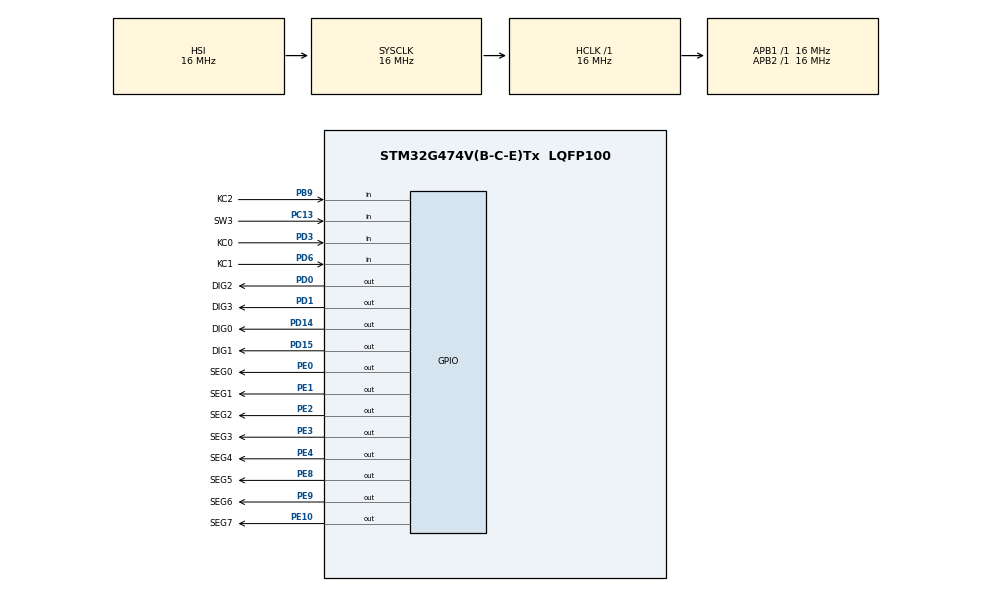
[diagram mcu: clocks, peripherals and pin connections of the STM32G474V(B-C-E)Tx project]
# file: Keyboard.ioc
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Mcu.Family=STM32G4
Mcu.Name=STM32G474V(B-C-E)Tx
Mcu.Package=LQFP100
NVIC.PriorityGroup=NVIC_PRIORITYGROUP_4
PA13.Mode=Serial_Wire
PA13.Signal=SYS_JTMS-SWDIO
PA14.Mode=Serial_Wire
PA14.Signal=SYS_JTCK-SWCLK
PB9.GPIO_Label=KC2
PB9.GPIO_PuPd=GPIO_PULLDOWN
PB9.Signal=GPIO_Input
PC13.GPIO_Label=SW3
PC13.GPIO_PuPd=GPIO_PULLUP
PC13.Signal=GPIO_Input
PD0.GPIO_Label=DIG2
PD0.Signal=GPIO_Output
PD1.GPIO_Label=DIG3
PD1.Signal=GPIO_Output
PD14.GPIO_Label=DIG0
PD14.Signal=GPIO_Output
PD15.GPIO_Label=DIG1
PD15.Signal=GPIO_Output
PD3.GPIO_Label=KC0
PD3.GPIO_PuPd=GPIO_PULLDOWN
PD3.Signal=GPIO_Input
PD6.GPIO_Label=KC1
PD6.GPIO_PuPd=GPIO_PULLDOWN
PD6.Signal=GPIO_Input
PE0.GPIO_Label=SEG0
PE0.Signal=GPIO_Output
PE1.GPIO_Label=SEG1
PE1.Signal=GPIO_Output
PE10.GPIO_Label=SEG7
PE10.Signal=GPIO_Output
PE2.GPIO_Label=SEG2
PE2.Signal=GPIO_Output
PE3.GPIO_Label=SEG3
PE3.Signal=GPIO_Output
PE4.GPIO_Label=SEG4
PE4.Signal=GPIO_Output
PE8.GPIO_Label=SEG5
PE8.Signal=GPIO_Output
PE9.GPIO_Label=SEG6
PE9.Signal=GPIO_Output
ProjectManager.HeapSize=0x200
ProjectManager.StackSize=0x400
ProjectManager.TargetToolchain=STM32CubeIDE
RCC.AHBFreq_Value=16000000
RCC.APB1Freq_Value=16000000
RCC.APB1TimFreq_Value=16000000
RCC.APB2Freq_Value=16000000
RCC.APB2TimFreq_Value=16000000
RCC.CortexFreq_Value=16000000
RCC.EXTERNAL_CLOCK_VALUE=12288000
RCC.HCLKFreq_Value=16000000
RCC.HSE_VALUE=8000000
RCC.HSI48_VALUE=48000000
RCC.HSI_VALUE=16000000
RCC.LSE_VALUE=32768
RCC.SYSCLKFreq_VALUE=16000000
RCC.USBFreq_Value=64000000
RCC.VCOOutputFreq_Value=128000000
VP_SYS_VS_DBSignals.Mode=DisableDeadBatterySignals
board=custom

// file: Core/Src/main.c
/* USER CODE BEGIN Header */
/**
  ******************************************************************************
  * @file           : main.c
  * @brief          : Main program body
  ******************************************************************************
  * @attention
  *
  * Copyright (c) 2025 STMicroelectronics.
  * All rights reserved.
  *
  * This software is licensed under terms that can be found in the LICENSE file
  * in the root directory of this software component.
  * If no LICENSE file comes with this software, it is provided AS-IS.
  *
  ******************************************************************************
  */
/* USER CODE END Header */
#include "main.h"
#include <stdbool.h>

void SystemClock_Config(void);
static void MX_GPIO_Init(void);

/* USER CODE BEGIN 0 */
uint8_t code[] ={
		0x3F,0x06,0x5B,0x4F,
		0x66,0x6D,0x7D,0x07,
		0x7F,0x67,0x77,0x7C,
		0x39,0x5E,0x79,0x71,
		0x40,0x00
};
int previous_numbers[]={0,0,0,0,0,0,0,0,0,0,0,0,0,0,0,0,0};
int counter_numbers[]={0,0,0,0,0,0,0,0,0,0,0,0,0,0,0,0,0};    //Debouncing

void set_segment_direct(uint8_t segs){
	HAL_GPIO_WritePin(SEG0_GPIO_Port, SEG0_Pin, segs & (1<<0) ? GPIO_PIN_SET : GPIO_PIN_RESET);
	HAL_GPIO_WritePin(SEG1_GPIO_Port, SEG1_Pin, segs & (1<<1) ? GPIO_PIN_SET : GPIO_PIN_RESET);
	HAL_GPIO_WritePin(SEG2_GPIO_Port, SEG2_Pin, segs & (1<<2) ? GPIO_PIN_SET : GPIO_PIN_RESET);
	HAL_GPIO_WritePin(SEG3_GPIO_Port, SEG3_Pin, segs & (1<<3) ? GPIO_PIN_SET : GPIO_PIN_RESET);
	HAL_GPIO_WritePin(SEG4_GPIO_Port, SEG4_Pin, segs & (1<<4) ? GPIO_PIN_SET : GPIO_PIN_RESET);
	HAL_GPIO_WritePin(SEG5_GPIO_Port, SEG5_Pin, segs & (1<<5) ? GPIO_PIN_SET : GPIO_PIN_RESET);
	HAL_GPIO_WritePin(SEG6_GPIO_Port, SEG6_Pin, segs & (1<<6) ? GPIO_PIN_SET : GPIO_PIN_RESET);
	HAL_GPIO_WritePin(SEG7_GPIO_Port, SEG7_Pin, segs & (1<<7) ? GPIO_PIN_SET : GPIO_PIN_RESET);
}
void display(int number) {
	if(number>=18)return;
	set_segment_direct(code[number]);
}
void set_digit(int8_t which)
{
  HAL_GPIO_WritePin(DIG0_GPIO_Port, DIG0_Pin, GPIO_PIN_RESET);
  HAL_GPIO_WritePin(DIG1_GPIO_Port, DIG1_Pin, GPIO_PIN_RESET);
  HAL_GPIO_WritePin(DIG2_GPIO_Port, DIG2_Pin, GPIO_PIN_RESET);
  HAL_GPIO_WritePin(DIG3_GPIO_Port, DIG3_Pin, GPIO_PIN_RESET);
  switch (which)
  {
  case 0:HAL_GPIO_WritePin(DIG0_GPIO_Port, DIG0_Pin, GPIO_PIN_SET);break;
  case 1:HAL_GPIO_WritePin(DIG1_GPIO_Port, DIG1_Pin, GPIO_PIN_SET);break;
  case 2:HAL_GPIO_WritePin(DIG2_GPIO_Port, DIG2_Pin, GPIO_PIN_SET);break;
  case 3:HAL_GPIO_WritePin(DIG3_GPIO_Port, DIG3_Pin, GPIO_PIN_SET);break;
  }
}
void set_keyboard_row(int8_t which)
{
  HAL_GPIO_WritePin(SEG0_GPIO_Port, SEG0_Pin, GPIO_PIN_RESET);
  HAL_GPIO_WritePin(SEG1_GPIO_Port, SEG1_Pin, GPIO_PIN_RESET);
  HAL_GPIO_WritePin(SEG2_GPIO_Port, SEG2_Pin, GPIO_PIN_RESET);
  HAL_GPIO_WritePin(SEG3_GPIO_Port, SEG3_Pin, GPIO_PIN_RESET);
  HAL_GPIO_WritePin(SEG4_GPIO_Port, SEG4_Pin, GPIO_PIN_RESET);
  switch (which)
  {
  case 0:HAL_GPIO_WritePin(SEG0_GPIO_Port, SEG0_Pin, GPIO_PIN_SET);break;
  case 1:HAL_GPIO_WritePin(SEG1_GPIO_Port, SEG1_Pin, GPIO_PIN_SET);break;
  case 2:HAL_GPIO_WritePin(SEG2_GPIO_Port, SEG2_Pin, GPIO_PIN_SET);break;
  case 3:HAL_GPIO_WritePin(SEG3_GPIO_Port, SEG3_Pin, GPIO_PIN_SET);break;
  case 4:HAL_GPIO_WritePin(SEG4_GPIO_Port, SEG4_Pin, GPIO_PIN_SET);break;
  }
}
int ReadKeyboard(){
	for(int row=0 ;row<5;row++){
		set_keyboard_row(row);
  	int a = HAL_GPIO_ReadPin(KC0_GPIO_Port, KC0_Pin);
  	int b = HAL_GPIO_ReadPin(KC1_GPIO_Port, KC1_Pin);
  	int c = HAL_GPIO_ReadPin(KC2_GPIO_Port, KC2_Pin);
  	int aa = row*3+1;
  	int bb = row*3+2;
  	int cc = row*3+3;

  	if(a != previous_numbers[aa]){
  		counter_numbers[aa]+=1;
  		if(counter_numbers[aa] == 10){
  			previous_numbers[aa] = a;
  				if(a)return aa;
  		}
  	}else counter_numbers[aa]=0;

  	if(b != previous_numbers[bb]){
  		counter_numbers[bb]+=1;
  		if(counter_numbers[bb] == 10){
  			previous_numbers[bb] = b;
  				if(b)return bb;
  		}
  	}else counter_numbers[bb]=0;

  	if(c != previous_numbers[cc]){
  		counter_numbers[cc]+=1;
  		if(counter_numbers[cc] == 10){
  			previous_numbers[cc] = c;
  				if(c)return cc;
  		}
  	}else counter_numbers[cc]=0;
	}
	// 16th button pullup mode
	int temp = HAL_GPIO_ReadPin(SW3_GPIO_Port, SW3_Pin);
	if(temp != previous_numbers[16]){
		counter_numbers[16]+=1;
		if(counter_numbers[16]==10){
			previous_numbers[16] = temp;
			if(!temp)return 16;
		}
	}else counter_numbers[16] = 0;

	return -1;
}

void rezero(uint8_t *numbers){
	numbers[0]=0;
	numbers[1]=17;
	numbers[2]=17;
	numbers[3]=17;
}
void num_to_array(int num, uint8_t *numbers){
	if(!num)rezero(numbers);
	int count = 0;
	while(num){
		numbers[count] = num %10;
		num = num /10;
		count++;
	}
	for(count;count<=3;count++){
		numbers[count]=17;
	}
}
int power(int n){
	int res = 1;
	while(n){
		res*=10;
		n--;
	}
	return res;
}
int array_to_num(uint8_t *numbers){
	int i = 0;
	int result = 0;
	while(numbers[i]!=17 && i<4){
		result += power(i)*numbers[i];
		i++;
	}
	return result;
}
int operand_1 = 0;
int operand_2 = 0;
int oper = 0;
int result = 0;
bool is_start = true;
bool can_calculate = false;

void init_all(){
	operand_1 = 0;
	operand_2 = 0;
	oper=0;
	result = 0;
	is_start = true;
	can_calculate = false;
}
void display_4seg(int period, int delay, uint8_t *numbers){
	set_digit(-1);
	display(numbers[period]);
	set_digit(period);
	HAL_Delay(delay);
}
/* USER CODE END 0 */

int main(void)
{

  /* MCU Configuration--------------------------------------------------------*/

  /* Reset of all peripherals, Initializes the Flash interface and the Systick. */
  HAL_Init();

  /* Configure the system clock */
  SystemClock_Config();

  /* Initialize all configured peripherals */
  MX_GPIO_Init();
  /* USER CODE BEGIN 2 */
  int delay =0;
  int period = 0;

  uint8_t numbers[]={0,17,17,17};

  /* USER CODE END 2 */

  /* Infinite loop */
  while (1)
  {

    /* USER CODE BEGIN 3 */
  	if(period < 4){
  		display_4seg(period, delay, numbers);
  	}
  	else{
  	set_digit(-1);
  	int read = ReadKeyboard();
  	if(read != -1){

  		if((1<=read && read<=9 )|| read ==11){
				if(numbers[3]!=17){HAL_Delay(499);rezero(numbers);init_all();}
				else{
					for(int i = 2;i>=0;i--){
						numbers[i+1]=numbers[i];
					}
					numbers[0] = (read == 11) ? 0 : read;
					if(is_start){
						numbers[1]=17;
						if(read!=11)is_start = false;
					}
				}
  		}

  		else if(read == 10){
  			rezero(numbers);
  			init_all();
  		}

  		else if(read == 12 && can_calculate){
  			operand_2 = array_to_num(numbers);
  			switch(oper){
  				case 13 :result = operand_1 + operand_2;break;
  				case 14 :result = operand_1 - operand_2;break;
  				case 15 :result = operand_1 * operand_2;break;
  				case 16 :result = operand_1 / operand_2;break;
  			}
  			if(0<result && result<10000){
  				num_to_array(result, numbers);
  			}
  			else if(result <0 && result >=-999){
  				num_to_array(-result, numbers);
  				if(result<-99)numbers[3]=16;
  				else if(result<-9)numbers[2]=16;
  				else numbers[1]=16;
  			}
  			else{rezero(numbers);}
  				init_all();
  		}

  		else if(13<=read && read<=16){
  			oper = read;
  			operand_1 = array_to_num(numbers);
  			can_calculate = true;
  			rezero(numbers);
  			is_start = true;
  		}

  	}
  	}
  	++period;
  	if(period == 5)period = 0;

  }
  /* USER CODE END 3 */
}

void SystemClock_Config(void)
{
  RCC_OscInitTypeDef RCC_OscInitStruct = {0};
  RCC_ClkInitTypeDef RCC_ClkInitStruct = {0};

  /** Configure the main internal regulator output voltage
  */
  HAL_PWREx_ControlVoltageScaling(PWR_REGULATOR_VOLTAGE_SCALE1);

  /** Initializes the RCC Oscillators according to the specified parameters
  * in the RCC_OscInitTypeDef structure.
  */
  RCC_OscInitStruct.OscillatorType = RCC_OSCILLATORTYPE_HSI;
  RCC_OscInitStruct.HSIState = RCC_HSI_ON;
  RCC_OscInitStruct.HSICalibrationValue = RCC_HSICALIBRATION_DEFAULT;
  RCC_OscInitStruct.PLL.PLLState = RCC_PLL_NONE;
  if (HAL_RCC_OscConfig(&RCC_OscInitStruct) != HAL_OK)
  {
    Error_Handler();
  }

  /** Initializes the CPU, AHB and APB buses clocks
  */
  RCC_ClkInitStruct.ClockType = RCC_CLOCKTYPE_HCLK|RCC_CLOCKTYPE_SYSCLK
                              |RCC_CLOCKTYPE_PCLK1|RCC_CLOCKTYPE_PCLK2;
  RCC_ClkInitStruct.SYSCLKSource = RCC_SYSCLKSOURCE_HSI;
  RCC_ClkInitStruct.AHBCLKDivider = RCC_SYSCLK_DIV1;
  RCC_ClkInitStruct.APB1CLKDivider = RCC_HCLK_DIV1;
  RCC_ClkInitStruct.APB2CLKDivider = RCC_HCLK_DIV1;

  if (HAL_RCC_ClockConfig(&RCC_ClkInitStruct, FLASH_LATENCY_0) != HAL_OK)
  {
    Error_Handler();
  }
}

static void MX_GPIO_Init(void)
{
  GPIO_InitTypeDef GPIO_InitStruct = {0};

  /* GPIO Ports Clock Enable */
  __HAL_RCC_GPIOE_CLK_ENABLE();
  __HAL_RCC_GPIOC_CLK_ENABLE();
  __HAL_RCC_GPIOD_CLK_ENABLE();
  __HAL_RCC_GPIOA_CLK_ENABLE();
  __HAL_RCC_GPIOB_CLK_ENABLE();

  /*Configure GPIO pin Output Level */
  HAL_GPIO_WritePin(GPIOE, SEG2_Pin|SEG3_Pin|SEG4_Pin|SEG5_Pin
                          |SEG6_Pin|SEG7_Pin|SEG0_Pin|SEG1_Pin, GPIO_PIN_RESET);

  /*Configure GPIO pin Output Level */
  HAL_GPIO_WritePin(GPIOD, DIG0_Pin|DIG1_Pin|DIG2_Pin|DIG3_Pin, GPIO_PIN_RESET);

  /*Configure GPIO pins : SEG2_Pin SEG3_Pin SEG4_Pin SEG5_Pin
                           SEG6_Pin SEG7_Pin SEG0_Pin SEG1_Pin */
  GPIO_InitStruct.Pin = SEG2_Pin|SEG3_Pin|SEG4_Pin|SEG5_Pin
                          |SEG6_Pin|SEG7_Pin|SEG0_Pin|SEG1_Pin;
  GPIO_InitStruct.Mode = GPIO_MODE_OUTPUT_PP;
  GPIO_InitStruct.Pull = GPIO_NOPULL;
  GPIO_InitStruct.Speed = GPIO_SPEED_FREQ_LOW;
  HAL_GPIO_Init(GPIOE, &GPIO_InitStruct);

  /*Configure GPIO pin : SW3_Pin */
  GPIO_InitStruct.Pin = SW3_Pin;
  GPIO_InitStruct.Mode = GPIO_MODE_INPUT;
  GPIO_InitStruct.Pull = GPIO_PULLUP;
  HAL_GPIO_Init(SW3_GPIO_Port, &GPIO_InitStruct);

  /*Configure GPIO pins : DIG0_Pin DIG1_Pin DIG2_Pin DIG3_Pin */
  GPIO_InitStruct.Pin = DIG0_Pin|DIG1_Pin|DIG2_Pin|DIG3_Pin;
  GPIO_InitStruct.Mode = GPIO_MODE_OUTPUT_PP;
  GPIO_InitStruct.Pull = GPIO_NOPULL;
  GPIO_InitStruct.Speed = GPIO_SPEED_FREQ_LOW;
  HAL_GPIO_Init(GPIOD, &GPIO_InitStruct);

  /*Configure GPIO pins : KC0_Pin KC1_Pin */
  GPIO_InitStruct.Pin = KC0_Pin|KC1_Pin;
  GPIO_InitStruct.Mode = GPIO_MODE_INPUT;
  GPIO_InitStruct.Pull = GPIO_PULLDOWN;
  HAL_GPIO_Init(GPIOD, &GPIO_InitStruct);

  /*Configure GPIO pin : KC2_Pin */
  GPIO_InitStruct.Pin = KC2_Pin;
  GPIO_InitStruct.Mode = GPIO_MODE_INPUT;
  GPIO_InitStruct.Pull = GPIO_PULLDOWN;
  HAL_GPIO_Init(KC2_GPIO_Port, &GPIO_InitStruct);

}

void Error_Handler(void)
{
  __disable_irq();
  while (1)
  {
  }
}
